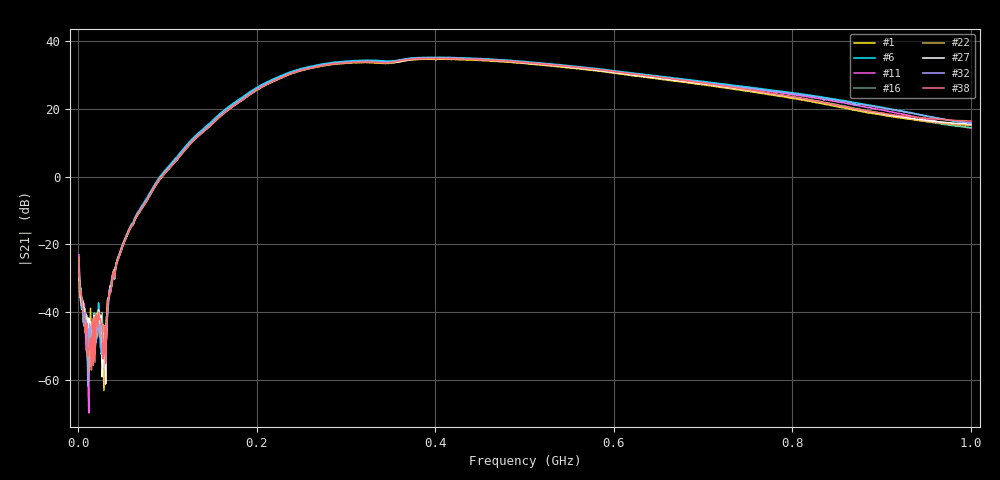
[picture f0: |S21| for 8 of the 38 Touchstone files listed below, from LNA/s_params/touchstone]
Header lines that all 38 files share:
! Created with skrf 1.9.0 (http://scikit-rf.org).
# Hz S RI R 50.0
!freq ReS11 ImS11 ReS21 ImS21 ReS12 ImS12 ReS22 ImS22
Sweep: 1 MHz to 1 GHz
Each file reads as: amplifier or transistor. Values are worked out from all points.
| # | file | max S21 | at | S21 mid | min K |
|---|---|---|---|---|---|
| 1 | LNA00453P1.s2p | 34.7 dB | 394.6 MHz | 33.5 dB at 500.5 MHz | -0.68 |
| 2 | LNA00453P2.s2p | 35.2 dB | 394.6 MHz | 33.8 dB at 500.5 MHz | -32.80 |
| 3 | LNA00454P1.s2p | 35.0 dB | 394.6 MHz | 33.8 dB at 500.5 MHz | -118.27 |
| 4 | LNA00454P2.s2p | 35.0 dB | 404.6 MHz | 33.8 dB at 500.5 MHz | -200.77 |
| 5 | LNA00455P2.s2p | 35.0 dB | 404.6 MHz | 33.8 dB at 500.5 MHz | -103.62 |
| 6 | LNA00456P1.s2p | 35.3 dB | 404.6 MHz | 34.0 dB at 500.5 MHz | -76.01 |
| 7 | LNA00456P2.s2p | 34.9 dB | 408.6 MHz | 33.8 dB at 500.5 MHz | -49.60 |
| 8 | LNA00457P1.s2p | 35.0 dB | 394.6 MHz | 33.7 dB at 500.5 MHz | -0.41 |
| 9 | LNA00458P1.s2p | 35.0 dB | 406.6 MHz | 33.9 dB at 500.5 MHz | -9.13 |
| 10 | LNA00458P2.s2p | 34.9 dB | 405.6 MHz | 33.7 dB at 500.5 MHz | -39.25 |
| 11 | LNA00459P1.s2p | 35.0 dB | 406.6 MHz | 33.8 dB at 500.5 MHz | -45.30 |
| 12 | LNA00459P2.s2p | 35.0 dB | 394.6 MHz | 33.8 dB at 500.5 MHz | -1.79 |
| 13 | LNA00460P1.s2p | 34.8 dB | 394.6 MHz | 33.6 dB at 500.5 MHz | -19.42 |
| 14 | LNA00460P2.s2p | 35.0 dB | 394.6 MHz | 33.8 dB at 500.5 MHz | -19.96 |
| 15 | LNA00461P1.s2p | 34.7 dB | 394.6 MHz | 33.4 dB at 500.5 MHz | -136.97 |
| 16 | LNA00461P2.s2p | 34.9 dB | 406.6 MHz | 33.7 dB at 500.5 MHz | -141.07 |
| 17 | LNA00462P2.s2p | 35.0 dB | 394.6 MHz | 33.8 dB at 500.5 MHz | -1557.72 |
| 18 | LNA00463P1.s2p | 35.0 dB | 404.6 MHz | 33.9 dB at 500.5 MHz | -44.57 |
| 19 | LNA00463P2.s2p | 35.0 dB | 394.6 MHz | 33.8 dB at 500.5 MHz | -60.10 |
| 20 | LNA00464P1.s2p | 35.0 dB | 404.6 MHz | 33.8 dB at 500.5 MHz | -0.35 |
| 21 | LNA00464P2.s2p | 34.9 dB | 404.6 MHz | 33.7 dB at 500.5 MHz | -38.47 |
| 22 | LNA00465P1.s2p | 34.9 dB | 394.6 MHz | 33.6 dB at 500.5 MHz | -15.90 |
| 23 | LNA00465P2.s2p | 35.0 dB | 394.6 MHz | 33.7 dB at 500.5 MHz | -59.26 |
| 24 | LNA00466P1.s2p | 34.7 dB | 410.6 MHz | 33.6 dB at 500.5 MHz | -36.20 |
| 25 | LNA00466P2.s2p | 34.9 dB | 406.6 MHz | 33.7 dB at 500.5 MHz | -2.32 |
| 26 | LNA00467P1.s2p | 34.7 dB | 404.6 MHz | 33.6 dB at 500.5 MHz | -3.63 |
| 27 | LNA00468P1.s2p | 34.9 dB | 394.6 MHz | 33.6 dB at 500.5 MHz | -85.18 |
| 28 | LNA00468P2.s2p | 35.0 dB | 394.6 MHz | 33.7 dB at 500.5 MHz | -116.02 |
| 29 | LNA00469P1.s2p | 35.1 dB | 404.6 MHz | 34.0 dB at 500.5 MHz | -6.86 |
| 30 | LNA00469P2.s2p | 35.0 dB | 394.6 MHz | 33.7 dB at 500.5 MHz | -41.37 |
| 31 | LNA00470P1.s2p | 34.9 dB | 404.6 MHz | 33.7 dB at 500.5 MHz | -35.85 |
| 32 | LNA00470P2.s2p | 35.1 dB | 394.6 MHz | 33.8 dB at 500.5 MHz | -81.02 |
| 33 | LNA00471P1.s2p | 35.1 dB | 394.6 MHz | 33.8 dB at 500.5 MHz | -34.35 |
| 34 | LNA00471P2.s2p | 34.8 dB | 408.6 MHz | 33.7 dB at 500.5 MHz | -46.22 |
| 35 | LNA00472P1.s2p | 34.9 dB | 404.6 MHz | 33.8 dB at 500.5 MHz | -0.08 |
| 36 | LNA00472P2.s2p | 35.1 dB | 404.6 MHz | 33.8 dB at 500.5 MHz | -46.67 |
| 37 | LNA00473P1.s2p | 34.9 dB | 404.6 MHz | 33.7 dB at 500.5 MHz | -19.45 |
| 38 | LNA00473P2.s2p | 34.9 dB | 404.6 MHz | 33.7 dB at 500.5 MHz | -23.77 |
